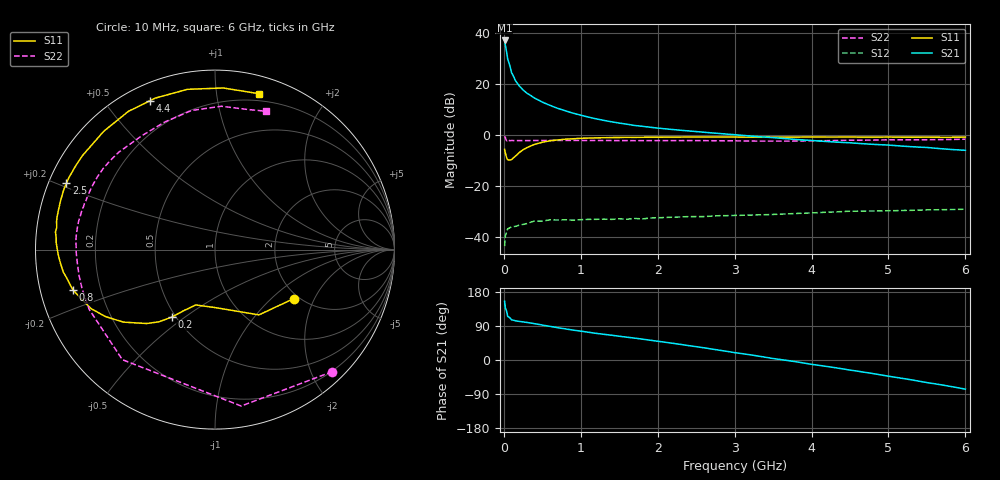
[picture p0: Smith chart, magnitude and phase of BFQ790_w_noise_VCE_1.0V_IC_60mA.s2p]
! (c) 2015  Infineon Technologies AG, Munich
! Infineon Technologies  Discrete & RF Semiconductors
! BFQ790
! VCE =  1.0 V,  IC =  60 mA
! Common Emitter S-Parameters:  May 2015
# GHz  S  MA  R  50
!  f  S11  S21  S12  S22
! GHz  MAG  ANG  MAG  ANG  MAG  ANG  MAG  ANG
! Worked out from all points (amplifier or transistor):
!   77 points, 10 MHz to 6 GHz, reference 50 ohm
!   highest |S21| = 37.1 dB at 10 MHz (marker M1)
!   |S21| within 3 dB of that: start of sweep to 27.06 MHz
!   unconditionally stable (mu >= 1): 1.283 GHz to end of sweep
!   at 130 MHz: K = 0.70, MSG = 29.4 dB, |S12| = -36.0 dB
!   at 2.2 GHz: K = 1.17, MAG = 14.7 dB, |S12| = -32.4 dB
!   at 6 GHz: K = 1.58, MAG = 7.1 dB, |S12| = -29.2 dB
!   lowest NFmin = 2.33 dB at 1.5 GHz
!   S11 on the Smith chart (normalised r, x): 10 MHz: 1.89, -1.41; 200 MHz: 0.48, -0.45; 800 MHz: 0.10, -0.14; 2.5 GHz: 0.05, +0.21; 4.4 GHz: 0.07, +0.65; 6 GHz: 0.14, +1.31
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0.01  0.5175 -31.8  71.54 155.1  0.0065 64.2  0.9432 -46.1
0.02  0.4385 -56.0  57.54 137.0  0.0104 46.7  0.8837 -80.5
0.05  0.3225 -90.5  30.76 115.0  0.0142 25.2  0.8016 -130.1
0.1  0.3265 -109.1  16.7 106.0  0.0156 17.0  0.7761 -154.6
0.15  0.3811 -117.0  11.68 103.5  0.0159 15.2  0.7718 -163.9
0.2  0.4474 -122.7  9.156 101.9  0.0168 16.9  0.771 -169.0
0.25  0.5092 -127.8  7.634 100.6  0.0174 14.7  0.7701 -172.4
0.3  0.5613 -132.8  6.579 99.1  0.0181 11.6  0.7709 -174.9
0.4  0.6504 -141.6  5.269 95.7  0.0203 11.5  0.7733 -178.8
0.5  0.715 -148.5  4.402 92.2  0.0202 7.4  0.7741 178.4
0.6  0.7644 -154.5  3.798 88.8  0.0214 7.7  0.7769 176.0
0.7  0.7942 -159.8  3.317 85.3  0.0212 6.3  0.7769 174.0
0.8  0.823 -164.2  2.969 82.1  0.0215 3.0  0.7766 172.3
1.1  0.8642 -174.9  2.233 73.3  0.0218 0.7  0.7754 167.4
1.5  0.8874 175.7  1.704 62.7  0.0224 -2.3  0.7707 162.0
2.1  0.9005 164.3  1.313 46.8  0.0238 -6.2  0.7696 153.2
2.5  0.9064 155.9  1.159 35.2  0.0248 -9.5  0.7695 145.9
3.1  0.9024 142.3  0.977 16.7  0.0263 -17.5  0.7588 132.5
4.1  0.9061 120.0  0.757 -14.2  0.0297 -29.2  0.7656 109.1
4.4  0.9052 113.6  0.71 -23.3  0.0311 -33.7  0.7788 102.0
5.1  0.9017 97.3  0.613 -45.9  0.0325 -46.4  0.7978 85.4
6  0.9023 74.4  0.497 -76.9  0.0346 -63.7  0.8214 69.8
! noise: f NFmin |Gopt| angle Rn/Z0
0.45  3.2  0.34  120  0.36
0.9  2.39  0.48  159  0.14
1.5  2.33  0.63  -178  0.07
1.8  2.52  0.66  -172  0.07
2.6  3.11  0.72  -154  0.19
3.5  3.88  0.83  -137  0.49
